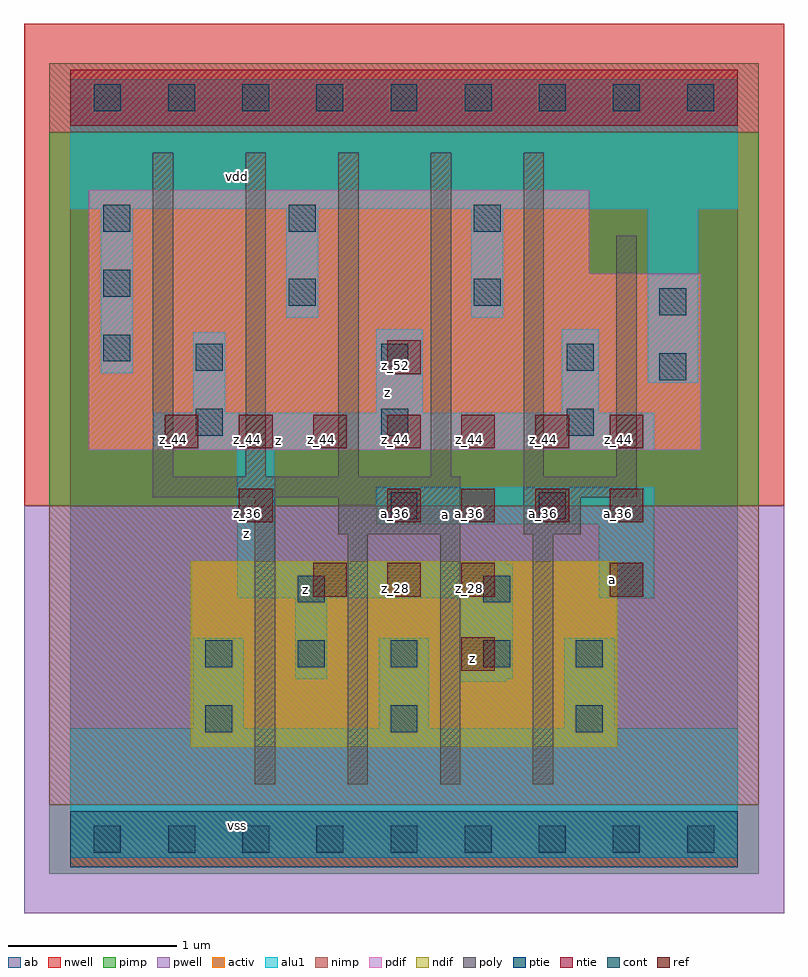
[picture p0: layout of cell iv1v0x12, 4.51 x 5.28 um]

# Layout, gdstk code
import gdstk
lib = gdstk.Library(unit=1e-6, precision=2.5e-09)
def R(c, l, rs):  # rectangles x0, y0, x1, y1
    for r in rs: c.add(gdstk.rectangle(r[:2], r[2:], *l))
def A(c, l, x, y, w, h, nx, ny, dx, dy):  # array of equal rectangles
    R(c, l, [(x+i*dx, y+j*dy, x+i*dx+w, y+j*dy+h) for i in range(nx) for j in range(ny)])
ndif = (3, 0)
pdif = (4, 0)
ntie = (5, 0)
ptie = (6, 0)
ref = (24, 0)
cont = (25, 0)
pwell = (41, 0)
nwell = (42, 0)
activ = (43, 0)
pimp = (44, 0)
nimp = (45, 0)
poly = (46, 0)
alu1 = (49, 0)
ab = (63, 0)

iv1v0x12 = lib.new_cell('iv1v0x12')
R(iv1v0x12, ndif, [(0.715,0.55,3.245,1.65)])
R(iv1v0x12, pdif, [(0.11,2.31,3.74,3.355), (0.11,3.355,3.08,3.85)])
R(iv1v0x12, ntie, [(0,4.235,3.96,4.565)])
R(iv1v0x12, ptie, [(0,-0.165,3.96,0.165)])
A(iv1v0x12, ref, 1.44, 1.44, 0.2, 0.2, 3, 1, 0.44, 0)
A(iv1v0x12, ref, 1.88, 1.88, 0.2, 0.2, 4, 1, 0.44, 0)
A(iv1v0x12, ref, 0.56, 2.32, 0.2, 0.2, 7, 1, 0.44, 0)
R(iv1v0x12, ref, [(2.32,1,2.52,1.2), (3.2,1.44,3.4,1.64), (1,1.88,1.2,2.08), (1.88,2.76,2.08,2.96)])
A(iv1v0x12, cont, 0.14, -0.08, 0.16, 0.16, 9, 2, 0.44, 4.4)
A(iv1v0x12, cont, 0.8, 0.635, 0.16, 0.16, 3, 1, 1.1, 0)
A(iv1v0x12, cont, 0.8, 1.02, 0.16, 0.16, 5, 1, 0.55, 0)
A(iv1v0x12, cont, 0.745, 2.395, 0.16, 0.16, 3, 2, 1.1, 0.385)
A(iv1v0x12, cont, 0.195, 3.605, 0.16, 0.16, 3, 1, 1.1, 0)
R(iv1v0x12, cont, [(1.35,1.405,1.51,1.565), (2.45,1.405,2.61,1.565), (1.9,1.9,2.06,2.06), (2.78,1.9,2.94,2.06), (3.495,2.725,3.655,2.885), (0.195,2.835,0.355,2.995), (3.495,3.11,3.655,3.27), (1.295,3.165,1.455,3.325), (2.395,3.165,2.555,3.325), (0.195,3.22,0.355,3.38)])
R(iv1v0x12, pwell, [(-0.275,-0.44,4.235,1.98)])
R(iv1v0x12, nwell, [(-0.275,1.98,4.235,4.84)])
R(iv1v0x12, activ, [(0,-0.165,3.96,0.165), (0.715,0.55,3.245,1.65), (0.11,2.31,3.74,3.355), (0.11,3.355,3.08,3.85), (0,4.235,3.96,4.565)])
R(iv1v0x12, pimp, [(-0.125,-0.205,4.085,0.205), (-0.125,1.98,4.085,4.195)])
R(iv1v0x12, nimp, [(-0.125,0.205,4.085,1.98), (-0.125,4.195,4.085,4.605)])
A(iv1v0x12, poly, 1.645, 0.325, 0.12, 1.485, 3, 1, 0.55, 0)
A(iv1v0x12, poly, 0.49, 2.15, 0.12, 1.925, 5, 1, 0.55, 0)
R(iv1v0x12, poly, [(1.095,0.325,1.215,2.03), (1.59,1.81,2.315,2.03), (2.69,1.81,3.03,2.03), (0.49,2.03,2.315,2.15), (2.69,2.03,3.36,2.15), (3.24,2.15,3.36,3.58)])
A(iv1v0x12, alu1, 0.73, 0.66, 0.3, 0.535, 3, 1, 1.1, 0)
R(iv1v0x12, alu1, [(0,-0.11,3.96,0.66), (2.31,0.935,2.585,0.95), (1.335,0.95,1.525,1.43), (2.31,0.95,2.625,1.43), (0.99,1.43,2.625,1.635), (3.135,1.43,3.465,1.87), (0.99,1.635,2.585,1.65), (0.99,1.65,1.21,2.31), (1.815,1.87,3.465,2.09), (0.495,2.31,3.465,2.53), (0.73,2.53,0.92,3.01), (1.815,2.53,2.09,3.025), (2.915,2.53,3.135,3.025), (3.425,2.71,3.725,3.74), (0.18,2.765,0.37,3.74), (1.28,3.095,1.47,3.74), (2.38,3.095,2.57,3.74), (0,3.74,3.96,4.51)])
R(iv1v0x12, ab, [(0,0,3.96,4.4)])
iv1v0x12.add(gdstk.Label('vss', (0.99,0.0825), layer=49, texttype=0))
iv1v0x12.add(gdstk.Label('z', (2.3875,1.07), layer=49, texttype=0))
iv1v0x12.add(gdstk.Label('a', (3.2175,1.54), layer=49, texttype=0))
iv1v0x12.add(gdstk.Label('z', (1.3975,1.48), layer=49, texttype=0))
iv1v0x12.add(gdstk.Label('a', (2.2275,1.925), layer=49, texttype=0))
iv1v0x12.add(gdstk.Label('z', (1.045,1.815), layer=49, texttype=0))
iv1v0x12.add(gdstk.Label('z', (1.2375,2.365), layer=49, texttype=0))
iv1v0x12.add(gdstk.Label('z', (1.8825,2.6525), layer=49, texttype=0))
iv1v0x12.add(gdstk.Label('vdd', (0.99,3.9325), layer=49, texttype=0))
iv1v0x12.add(gdstk.Label('z_44', (0.61,2.37), layer=24, texttype=0))
iv1v0x12.add(gdstk.Label('z_36', (1.05,1.93), layer=24, texttype=0))
iv1v0x12.add(gdstk.Label('z_44', (1.05,2.37), layer=24, texttype=0))
iv1v0x12.add(gdstk.Label('z_28', (1.49,1.49), layer=24, texttype=0))
iv1v0x12.add(gdstk.Label('z_44', (1.49,2.37), layer=24, texttype=0))
iv1v0x12.add(gdstk.Label('z_28', (1.93,1.49), layer=24, texttype=0))
iv1v0x12.add(gdstk.Label('a_36', (1.93,1.93), layer=24, texttype=0))
iv1v0x12.add(gdstk.Label('z_44', (1.93,2.37), layer=24, texttype=0))
iv1v0x12.add(gdstk.Label('z_52', (1.93,2.81), layer=24, texttype=0))
iv1v0x12.add(gdstk.Label('z_20', (2.37,1.05), layer=24, texttype=0))
iv1v0x12.add(gdstk.Label('z_28', (2.37,1.49), layer=24, texttype=0))
iv1v0x12.add(gdstk.Label('a_36', (2.37,1.93), layer=24, texttype=0))
iv1v0x12.add(gdstk.Label('z_44', (2.37,2.37), layer=24, texttype=0))
iv1v0x12.add(gdstk.Label('a_36', (2.81,1.93), layer=24, texttype=0))
iv1v0x12.add(gdstk.Label('z_44', (2.81,2.37), layer=24, texttype=0))
iv1v0x12.add(gdstk.Label('a_28', (3.25,1.49), layer=24, texttype=0))
iv1v0x12.add(gdstk.Label('a_36', (3.25,1.93), layer=24, texttype=0))
iv1v0x12.add(gdstk.Label('z_44', (3.25,2.37), layer=24, texttype=0))

lib.write_gds('iv1v0x12.gds')
